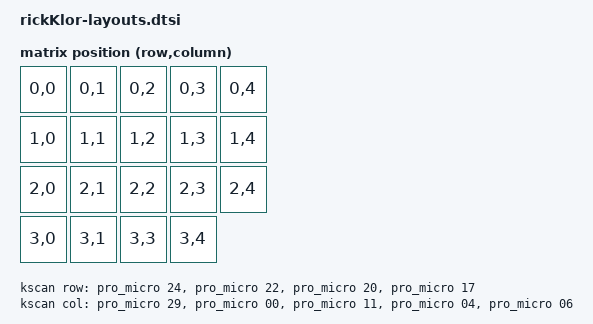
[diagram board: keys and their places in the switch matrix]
#include <physical_layouts.dtsi>
#include <dt-bindings/zmk/matrix_transform.h>

/ {
    chosen {
        zmk,physical-layout = &physical_layout0;
    };

        kscan: kscan {
        compatible = "zmk,kscan-gpio-matrix";
        diode-direction = "col2row";

		
		row-gpios = <&pro_micro 24 (GPIO_ACTIVE_HIGH | GPIO_PULL_DOWN)>,
		<&pro_micro 22 (GPIO_ACTIVE_HIGH | GPIO_PULL_DOWN)>,
		<&pro_micro 20 (GPIO_ACTIVE_HIGH | GPIO_PULL_DOWN)>,
		<&pro_micro 17 (GPIO_ACTIVE_HIGH | GPIO_PULL_DOWN)>;
		
		col-gpios = <&pro_micro 29 (GPIO_ACTIVE_HIGH)>,
		<&pro_micro 00 (GPIO_ACTIVE_HIGH)>,
		<&pro_micro 11 (GPIO_ACTIVE_HIGH)>,
		<&pro_micro 04 (GPIO_ACTIVE_HIGH)>,
		<&pro_micro 06 (GPIO_ACTIVE_HIGH)>;
	};

    transform: matrix_transform {
        compatible = "zmk,matrix-transform";
        rows = <4>;
        columns = <5>;
		
		map = <
		RC(0, 0) RC(0, 1) RC(0, 2) RC(0, 3) RC(0, 4) 
		RC(1, 0) RC(1, 1) RC(1, 2) RC(1, 3) RC(1, 4) 
		RC(2, 0) RC(2, 1) RC(2, 2) RC(2, 3) RC(2, 4) 
		RC(3, 0) RC(3, 1)  RC(3, 3) RC(3, 4)
		>;
	};


    physical_layout0: physical_layout_0 {
        compatible = "zmk,physical-layout";
        display-name = "Split Ortho 4x5";
        transform = <&transform>;
        kscan = <&kscan>;
        keys  //                     w   h    x    y     rot    rx    ry
            = <&key_physical_attrs 100 100    0   95       0     0     0>
            , <&key_physical_attrs 100 100  100   32       0     0     0>
            , <&key_physical_attrs 100 100  200    0       0     0     0>
            , <&key_physical_attrs 100 100  300   29       0     0     0>
            , <&key_physical_attrs 100 100  400   42       0     0     0>

            , <&key_physical_attrs 100 100    0  195       0     0     0>
            , <&key_physical_attrs 100 100  100  132       0     0     0>
            , <&key_physical_attrs 100 100  200  100       0     0     0>
            , <&key_physical_attrs 100 100  300  129       0     0     0>
            , <&key_physical_attrs 100 100  400  142       0     0     0>
           
            , <&key_physical_attrs 100 100    0  295       0     0     0>
            , <&key_physical_attrs 100 100  100  232       0     0     0>
            , <&key_physical_attrs 100 100  200  200       0     0     0>
            , <&key_physical_attrs 100 100  300  229       0     0     0>
            , <&key_physical_attrs 100 100  400  242       0     0     0>
       
            , <&key_physical_attrs 100 100  330  355    1500   430   455>
            , <&key_physical_attrs 100 100  430  355    3000   430   455>
            , <&key_physical_attrs 100 100  130  355    4000   430   455>
            , <&key_physical_attrs 100 100  670  355 (-3000)   770   455>
            , <&key_physical_attrs 100 100  770  355 (-1500)   770   455>
            , <&key_physical_attrs 100 100  870  355 (0)       770   455>
            ;
    };
};
